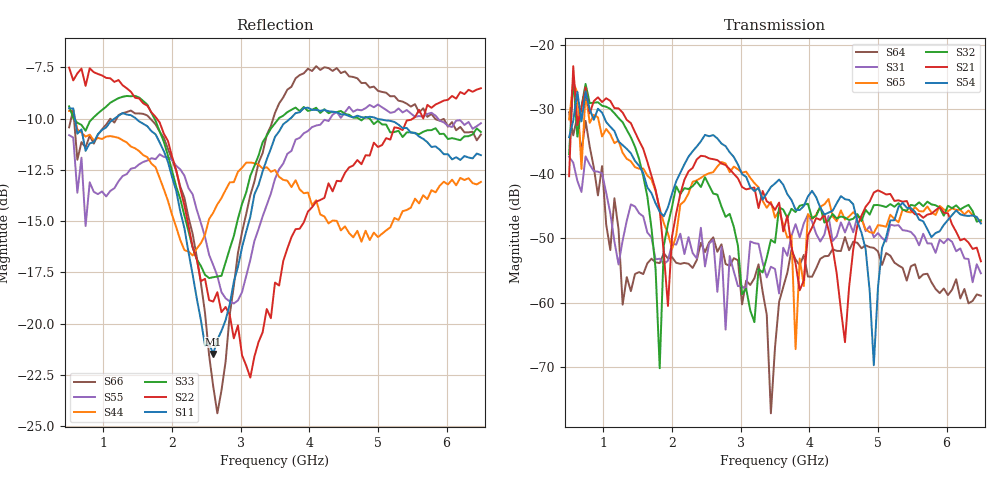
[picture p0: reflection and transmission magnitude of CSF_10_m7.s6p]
!Keysight Technologies,M9804A,MY58100912,A.14.10.03
!Date: Thursday, April 27, 2023 10:28:33
!Correction: S11(C  6-Port  )
!S12(C  6-Port  )
!S13(C  6-Port  )
!S14(C  6-Port  )
!S15(C  6-Port  )
!S16(C  6-Port  )
!S21(C  6-Port  )
!S22(C  6-Port  )
!S23(C  6-Port  )
!S24(C  6-Port  )
!S25(C  6-Port  )
!S26(C  6-Port  )
!S31(C  6-Port  )
!S32(C  6-Port  )
!S33(C  6-Port  )
!S34(C  6-Port  )
!S35(C  6-Port  )
!S36(C  6-Port  )
!S41(C  6-Port  )
!S42(C  6-Port  )
!S43(C  6-Port  )
!S44(C  6-Port  )
!S45(C  6-Port  )
!S46(C  6-Port  )
!S51(C  6-Port  )
!S52(C  6-Port  )
!S53(C  6-Port  )
!S54(C  6-Port  )
!S55(C  6-Port  )
!S56(C  6-Port  )
!S61(C  6-Port  )
!S62(C  6-Port  )
!S63(C  6-Port  )
!S64(C  6-Port  )
!S65(C  6-Port  )
!S66(C  6-Port  )
!S6P File: Measurement: :
# Hz S  RI  R 50
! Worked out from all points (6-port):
!   101 points, 500 MHz to 6.5 GHz, reference 50 ohm
!   strongest paths, dB at 500 MHz, 2 GHz, 3.5 GHz, 5 GHz, 6.5 GHz:
!     S54: -34.4, -43.1, -41.5, -57.7, -47.7
!     S21: -40.4, -49.7, -45.6, -42.6, -53.6
!     S32: -37.0, -45.1, -50.7, -44.9, -47.2
!     S65: -31.6, -51.7, -46.8, -48.0, -47.5
!     S31: -37.4, -50.8, -54.8, -49.2, -55.5
!     S64: -30.5, -53.0, -67.0, -52.1, -58.9
!   lowest |S11| = -21.5 dB at 2.6 GHz (marker M1), VSWR 1.18, Z = 42.5 + j1.99 ohm
!   |S11| at or under -10 dB: 584.1 MHz to 1.161 GHz (577.4 MHz wide, 66.2 % of centre); 1.474 GHz to 3.722 GHz (2.248 GHz wide, 86.5 % of centre); 4.984 GHz to end of sweep
